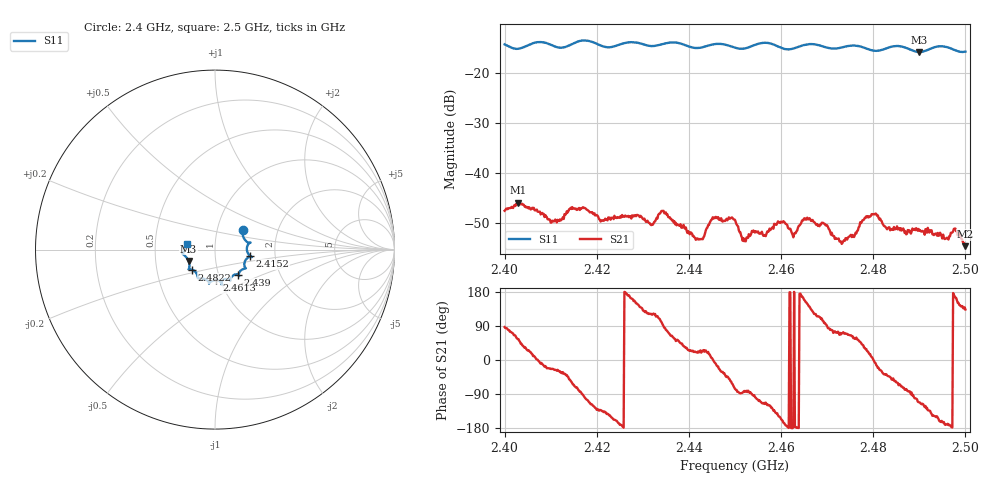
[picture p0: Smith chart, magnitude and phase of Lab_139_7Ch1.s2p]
# Hz S RI R 50
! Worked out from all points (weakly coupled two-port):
!   601 points, 2.4 GHz to 2.5 GHz, reference 50 ohm
!   highest |S21| = -45.98 dB at 2.403 GHz (marker M1); lowest = -54.7 dB at 2.5 GHz (marker M2)
!   lowest |S11| = -15.9 dB at 2.49 GHz (marker M3), VSWR 1.38, Z = 36.9 - j4.84 ohm
!   |S11| at or under -10 dB: start of sweep to end of sweep
!   S12 and S22 are empty: the file has one direction only
!   S11 on the Smith chart (normalised r, x): 2.4 GHz: 1.33, +0.31; 2.4152 GHz: 1.48, -0.11; 2.439 GHz: 1.24, -0.36; 2.4613 GHz: 0.96, -0.34; 2.4822 GHz: 0.76, -0.17; 2.5 GHz: 0.72, +0.05
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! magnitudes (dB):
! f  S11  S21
! 2.4 GHz  -14.4  -47.6
! 2.403 GHz  -15.2  -46.0
! 2.4103 GHz  -14.6  -49.6
! 2.4152 GHz  -14.1  -47.2
! 2.4167 GHz  -13.6  -47.2
! 2.4212 GHz  -14.7  -49.6
! 2.4333 GHz  -14.5  -48.5
! 2.439 GHz  -14.4  -51.0
! 2.4425 GHz  -15.0  -53.3
! 2.4453 GHz  -14.3  -49.2
! 2.45 GHz  -15.0  -49.5
! 2.452 GHz  -15.2  -53.7
! 2.4613 GHz  -15.4  -50.5
! 2.4628 GHz  -15.1  -52.2
! 2.4667 GHz  -14.3  -49.7
! 2.4732 GHz  -15.0  -54.3
! 2.48 GHz  -15.6  -48.4
! 2.4822 GHz  -15.4  -50.4
! 2.4833 GHz  -15.0  -51.0
! 2.49 GHz  -15.9  -51.6
! 2.4977 GHz  -15.5  -51.2
! 2.5 GHz  -15.8  -54.7
